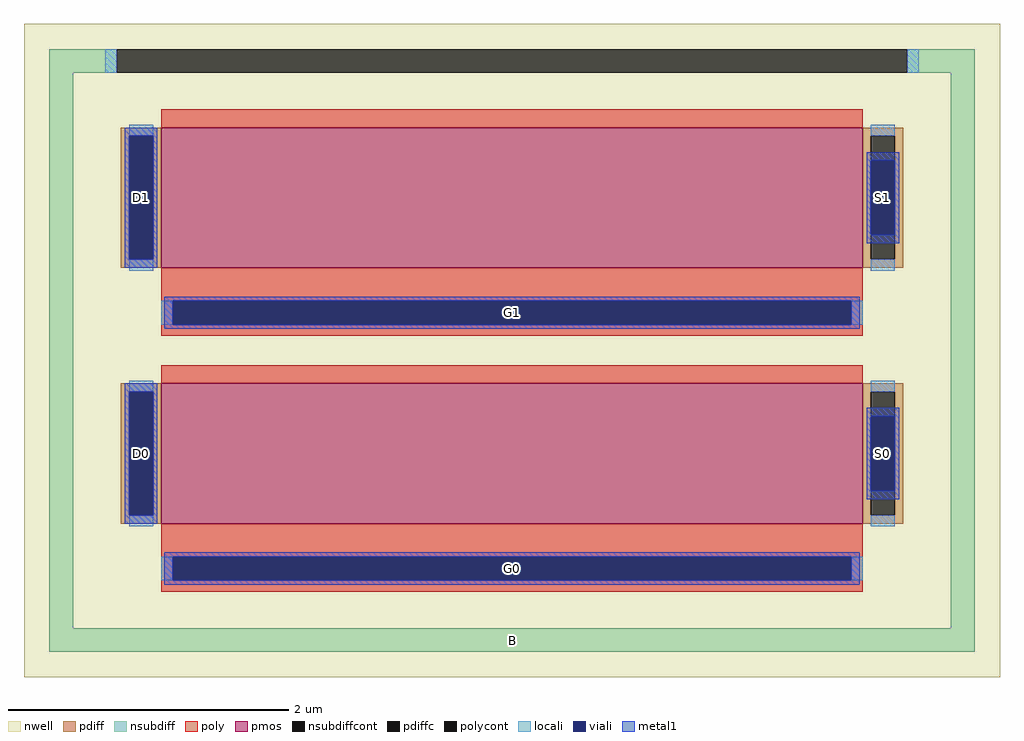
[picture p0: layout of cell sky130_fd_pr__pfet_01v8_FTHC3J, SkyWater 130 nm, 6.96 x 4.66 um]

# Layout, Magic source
magic
tech sky130A
magscale 1 2
<< nwell >>
rect -696 -466 696 466
<< pmos >>
rect -500 118 500 318
rect -500 -247 500 -47
<< pdiff >>
rect -558 306 -500 318
rect -558 130 -546 306
rect -512 130 -500 306
rect -558 118 -500 130
rect 500 306 558 318
rect 500 130 512 306
rect 546 130 558 306
rect 500 118 558 130
rect -558 -59 -500 -47
rect -558 -235 -546 -59
rect -512 -235 -500 -59
rect -558 -247 -500 -235
rect 500 -59 558 -47
rect 500 -235 512 -59
rect 546 -235 558 -59
rect 500 -247 558 -235
<< pdiffc >>
rect -546 130 -512 306
rect 512 130 546 306
rect -546 -235 -512 -59
rect 512 -235 546 -59
<< nsubdiff >>
rect -660 396 -564 430
rect 564 396 660 430
rect -660 -396 -626 396
rect 626 -396 660 396
rect -660 -430 660 -396
<< nsubdiffcont >>
rect -564 396 564 430
<< poly >>
rect -500 318 500 344
rect -500 71 500 118
rect -500 37 -484 71
rect 484 37 500 71
rect -500 21 500 37
rect -500 -47 500 -21
rect -500 -294 500 -247
rect -500 -328 -484 -294
rect 484 -328 500 -294
rect -500 -344 500 -328
<< polycont >>
rect -484 37 484 71
rect -484 -328 484 -294
<< locali >>
rect -580 396 -564 430
rect 564 396 580 430
rect -546 306 -512 322
rect -546 114 -512 130
rect 512 306 546 322
rect 512 114 546 130
rect -500 37 -484 71
rect 484 37 500 71
rect -546 -59 -512 -43
rect -546 -251 -512 -235
rect 512 -59 546 -43
rect 512 -251 546 -235
rect -500 -328 -484 -294
rect 484 -328 500 -294
<< viali >>
rect -546 130 -512 306
rect 512 165 546 271
rect -484 37 484 71
rect -546 -235 -512 -59
rect 512 -200 546 -94
rect -484 -328 484 -294
<< metal1 >>
rect -552 306 -506 318
rect -552 130 -546 306
rect -512 130 -506 306
rect 506 271 552 283
rect 506 165 512 271
rect 546 165 552 271
rect 506 153 552 165
rect -552 118 -506 130
rect -496 71 496 77
rect -496 37 -484 71
rect 484 37 496 71
rect -496 31 496 37
rect -552 -59 -506 -47
rect -552 -235 -546 -59
rect -512 -235 -506 -59
rect 506 -94 552 -82
rect 506 -200 512 -94
rect 546 -200 552 -94
rect 506 -212 552 -200
rect -552 -247 -506 -235
rect -496 -294 496 -288
rect -496 -328 -484 -294
rect 484 -328 496 -294
rect -496 -334 496 -328
<< labels >>
rlabel nsubdiff 0 -413 0 -413 0 B
port 1 nsew
rlabel pdiffc -529 -147 -529 -147 0 D0
port 2 nsew
rlabel pdiffc 529 -147 529 -147 0 S0
port 3 nsew
rlabel polycont 0 -311 0 -311 0 G0
port 4 nsew
rlabel pdiffc -529 218 -529 218 0 D1
port 5 nsew
rlabel pdiffc 529 218 529 218 0 S1
port 6 nsew
rlabel polycont 0 54 0 54 0 G1
port 7 nsew
<< properties >>
string FIXED_BBOX -643 -413 643 413
string gencell sky130_fd_pr__pfet_01v8
string library sky130
string parameters w 1 l 5 m 2 nf 1 diffcov 100 polycov 100 guard 1 glc 0 grc 0 gtc 1 gbc 0 tbcov 100 rlcov 100 topc 0 botc 1 poverlap 0 doverlap 1 lmin 0.15 wmin 0.42 class mosfet compatible {sky130_fd_pr__pfet_01v8  sky130_fd_pr__pfet_01v8_lvt sky130_fd_pr__pfet_01v8_hvt  sky130_fd_pr__pfet_g5v0d10v5} full_metal 0 viasrc 60 viadrn 100 viagate 100 viagb 0 viagr 0 viagl 0 viagt 0 doports 1
<< end >>
